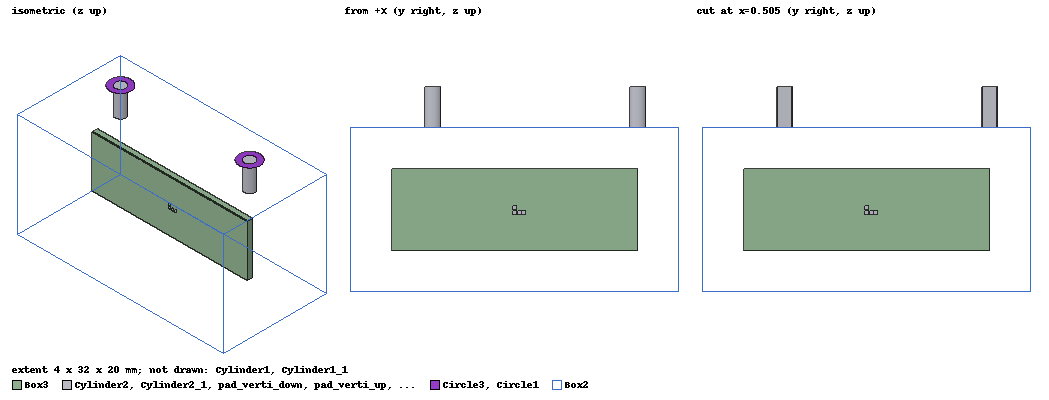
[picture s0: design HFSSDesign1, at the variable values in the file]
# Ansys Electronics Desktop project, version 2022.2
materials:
  vacuum: permittivity=1
  perfect conductor: conductivity=1e+30
  sapphire: permittivity=10
  aluminum: permeability=1.000021 conductivity=38000000
  Al2_O3_ceramic: permittivity=9.8

design HFSSDesign1 (HFSS, Eigenmode, model units mm)
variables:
  Xmax = 30mm
  Ymax = 50mm
  Zmax = 30mm
  thivkness = 5mm
  thickness = 5mm
  radius = 2mm
  offset = 10mm
  shiftport = 25mm
  radius1 = 1mm
  sub_xmax = 1mm
  pad_x = 1mm
  pad_y = 0.5mm
  pad_z = 0.5mm
  jj_len = 0.05mm
  Cj = 5fF
  Lj = 10nH
  trans_gap = 0.1mm
  Lj1 = 10nH
  L = 50nH
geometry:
  Box2 [vacuum] = box(corner=(-(Xmax - thivkness*2)/2, -(Ymax - thivkness*2)/2, -(Zmax - thivkness*2)/2), size=(Xmax - thivkness*2, Ymax - thickness*2, Zmax - thickness*2))
  Cylinder1 [vacuum] = cylinder(axis=Z, base_centre=(0mm, -(Ymax/2-thickness-offset), Zmax/2), radius=radius, height=-thickness)
  Cylinder2 [perfect conductor] = cylinder(axis=Z, base_centre=(0mm, -(Ymax/2-thickness-offset), Zmax/2), radius=radius1, height=-thickness)
  Cylinder1_1 [vacuum] = Cylinder1.duplicate_along_line(step=(0mm, shiftport, 0mm), total=2)
  Cylinder2_1 [perfect conductor] = Cylinder2.duplicate_along_line(step=(0mm, shiftport, 0mm), total=2)
  Circle1 = circle(normal=Z, centre=(0mm, -(Ymax/2-thickness-offset), Zmax/2), radius=radius)
  Circle2 = circle(normal=Z, centre=(0mm, -(Ymax/2-thickness-offset), Zmax/2), radius=radius1)
  Circle1.subtract(Circle2)
  Circle3 = circle(normal=Z, centre=(0mm, 15mm, 15mm), radius=radius)
  Circle4 = circle(normal=Z, centre=(0mm, 15mm, 15mm), radius=radius1)
  Circle3.subtract(Circle4)
  Box3 [sapphire] = box(corner=(-sub_xmax/2, -(Ymax - 2*thickness - 2*5mm)/2, -(Zmax - 2*thickness - 2*5mm)/2), size=(sub_xmax, Ymax - 2*thickness - 2*5mm, Zmax - 2*thickness - 2*5mm))
  plane Plane1 = base (6mm, 2mm, 0mm) normal (-2mm, 0mm, 0mm)
  plane Plane2 = base (4mm, 0.5mm, 0mm) normal (2mm, 0mm, 0mm)
  plane Plane3 = base (5mm, 0mm, 0mm) normal (-3mm, -0.5mm, 0mm)
  pad_verti_down [aluminum] = rectangle(corner=(sub_xmax/2, -pad_y/2, -pad_z - jj_len/2), y_size=pad_y, z_size=pad_z)
  pad_verti_up [aluminum] = pad_verti_down.duplicate_along_line(step=(0mm, 0mm, pad_z + jj_len), total=2)
  josephson_junction_verti [Al2_O3_ceramic] = rectangle(corner=(sub_xmax/2, -jj_len/2, -jj_len/2), y_size=jj_len, z_size=jj_len)
  Polyline1 = polyline((sub_xmax/2, 0mm, - jj_len/2) (sub_xmax/2, 0mm, jj_len/2))
  pad_hori_left [aluminum] = rectangle(corner=(sub_xmax/2, -pad_y/2 + pad_y + trans_gap, -pad_z - jj_len/2), y_size=pad_y, z_size=pad_z)
  pad_hori_right [aluminum] = pad_hori_left.duplicate_along_line(step=(0mm, pad_y + jj_len, 0mm), total=2)
  josephson_junction_hori [Al2_O3_ceramic] = rectangle(corner=(sub_xmax/2, pad_y/2 + pad_y + trans_gap, -pad_z/2-jj_len), y_size=jj_len, z_size=jj_len)
  Polyline2 = polyline((sub_xmax/2, -pad_y /2 + pad_y + pad_y + trans_gap, -pad_z/2 -jj_len/2) (sub_xmax/2, -pad_y /2 + pad_y  + pad_y+ trans_gap + jj_len, -pad_z/2 -jj_len/2))
  [pad_verti_up, pad_verti_down, pad_hori_right, pad_hori_left, josephson_junction_verti, josephson_junction_hori].thicken(0.01mm)
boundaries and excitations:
  LumpRLC1: Lumped RLC Objects=Circle1 CurrentLine{(-50mm, -9000mm, 15000mm) -> (250mm, -8050mm, 15000mm)} RLC_Type=Parallel Resistance=50ohm
  LumpRLC2: Lumped RLC Objects=Circle3 CurrentLine{(-100mm, 16000mm, 15000mm) -> (-50mm, 16950mm, 15000mm)} RLC_Type=Parallel Resistance=50ohm
  PerfE1: Perfect E Objects=pad_verti_down
  PerfE2: Perfect E Objects=pad_verti_up
  LumpRLC3: Lumped RLC Objects=josephson_junction_verti CurrentLine{(0.51, 0, -0.025) -> (0.51, 0, 0.025)} RLC_Type=Parallel Inductance=Lj
  PerfE3: Perfect E Objects=pad_hori_left
  PerfE4: Perfect E Objects=pad_hori_right
  LumpRLC4: Lumped RLC Objects=josephson_junction_hori CurrentLine{(0.51, 0.85, -0.275) -> (0.505, 0.9, -0.275)} RLC_Type=Parallel Inductance=Lj
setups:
  Setup1: HfssEigen MinimumFrequency=3.75GHz NumModes=3 MaxDeltaFreq=10 ConvergeOnRealFreq=false MaximumPasses=5 MinimumPasses=1 MinimumConvergedPasses=1 PercentRefinement=30 BasisOrder=1
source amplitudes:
  #-10:1: 1 0deg
  #-10:2, #-10:3: 0 0deg
